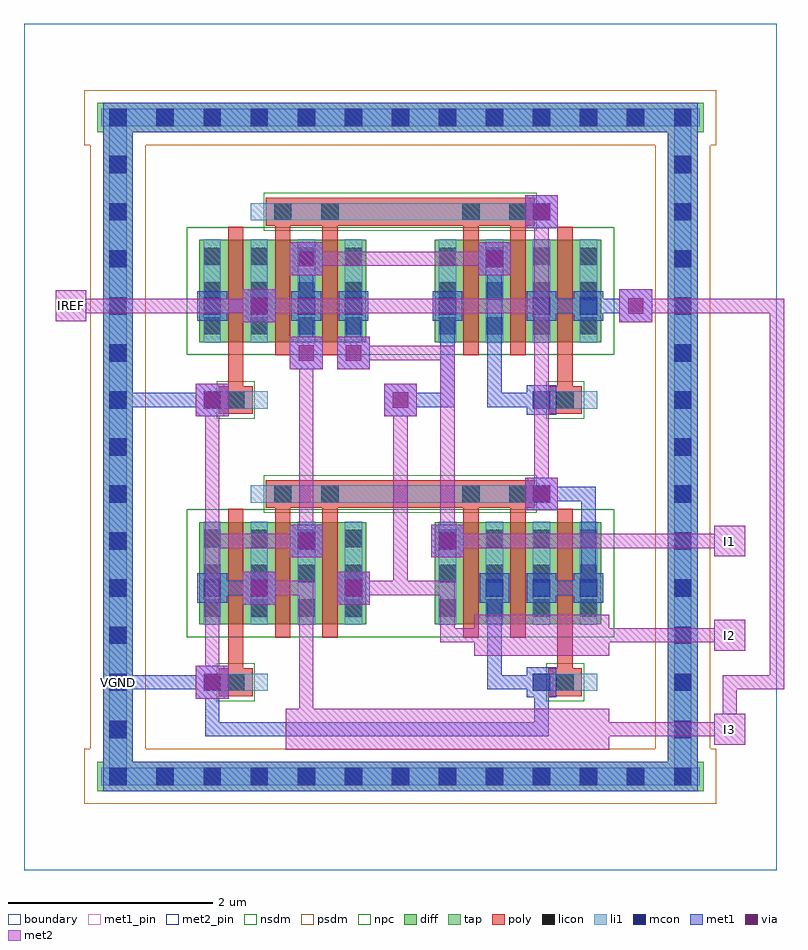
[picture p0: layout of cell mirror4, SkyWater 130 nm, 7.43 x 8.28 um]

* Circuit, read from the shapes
.subckt mirror4 I1 I2 I3 IREF VGND
XM1 I3 VGND I3 VGND sky130_fd_pr__nfet_01v8 w=1 l=0.15 m=2
XM2 IREF VGND IREF VGND sky130_fd_pr__nfet_01v8 w=1 l=0.15 m=2
XM3 VGND IREF I3 VGND sky130_fd_pr__nfet_01v8 w=1 l=0.15 m=2
XM4 VGND IREF IREF VGND sky130_fd_pr__nfet_01v8 w=1 l=0.15 m=2
XM5 I2 IREF VGND VGND sky130_fd_pr__nfet_01v8 w=1 l=0.15 m=2
XM6 I1 IREF VGND VGND sky130_fd_pr__nfet_01v8 w=1 l=0.15 m=2
.ends

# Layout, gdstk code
import gdstk
lib = gdstk.Library(unit=1e-6, precision=1e-09)
def R(c, l, rs):  # rectangles x0, y0, x1, y1
    for r in rs: c.add(gdstk.rectangle(r[:2], r[2:], *l))
def A(c, l, x, y, w, h, nx, ny, dx, dy):  # array of equal rectangles
    R(c, l, [(x+i*dx, y+j*dy, x+i*dx+w, y+j*dy+h) for i in range(nx) for j in range(ny)])
diff = (65, 20)
tap = (65, 44)
poly = (66, 20)
licon = (66, 44)
li1 = (67, 20)
mcon = (67, 44)
met1_pin = (68, 16)
met1 = (68, 20)
via = (68, 44)
met2_pin = (69, 16)
met2 = (69, 20)
nsdm = (93, 44)
psdm = (94, 20)
npc = (95, 20)
boundary = (235, 4)

mirror4 = lib.new_cell('mirror4')
R(mirror4, diff, [(1.715,2.405,3.345,3.405), (4.015,2.405,5.645,3.405), (1.715,5.165,3.345,6.165), (4.015,5.165,5.645,6.165)])
R(mirror4, tap, [(0.715,0.775,6.645,1.065), (0.775,0.775,1.065,7.505), (6.295,0.775,6.585,7.505), (0.715,7.215,6.645,7.505)])
R(mirror4, poly, [(1.905,1.705,2.235,1.975), (5.125,1.705,5.455,1.975), (1.995,1.84,2.145,3.535), (5.215,1.84,5.365,3.535), (2.455,2.275,2.605,3.68), (2.915,2.275,3.065,3.68), (4.295,2.275,4.445,3.68), (4.755,2.275,4.905,3.68), (2.365,3.545,4.995,3.815), (1.905,4.465,2.235,4.735), (5.125,4.465,5.455,4.735), (1.995,4.6,2.145,6.295), (5.215,4.6,5.365,6.295), (2.455,5.035,2.605,6.44), (2.915,5.035,3.065,6.44), (4.295,5.035,4.445,6.44), (4.755,5.035,4.905,6.44), (2.365,6.305,4.995,6.575)])
A(mirror4, licon, 0.835, 0.835, 0.17, 0.17, 13, 2, 0.46, 6.44)
A(mirror4, licon, 0.835, 1.295, 0.17, 0.17, 1, 13, 0, 0.46)
A(mirror4, licon, 6.355, 1.295, 0.17, 0.17, 1, 13, 0, 0.46)
A(mirror4, licon, 1.755, 2.48, 0.17, 0.17, 4, 3, 0.46, 0.34)
A(mirror4, licon, 4.055, 2.48, 0.17, 0.17, 4, 3, 0.46, 0.34)
A(mirror4, licon, 1.755, 5.24, 0.17, 0.17, 4, 3, 0.46, 0.34)
A(mirror4, licon, 4.055, 5.24, 0.17, 0.17, 4, 3, 0.46, 0.34)
R(mirror4, licon, [(1.985,1.755,2.155,1.925), (5.205,1.755,5.375,1.925), (2.445,3.595,2.615,3.765), (2.905,3.595,3.075,3.765), (4.285,3.595,4.455,3.765), (4.745,3.595,4.915,3.765), (1.985,4.515,2.155,4.685), (5.205,4.515,5.375,4.685), (2.445,6.355,2.615,6.525), (2.905,6.355,3.075,6.525), (4.285,6.355,4.455,6.525), (4.745,6.355,4.915,6.525)])
A(mirror4, li1, 1.755, 2.4, 0.17, 1.01, 4, 2, 0.46, 2.76)
A(mirror4, li1, 4.055, 2.4, 0.17, 1.01, 4, 2, 0.46, 2.76)
R(mirror4, li1, [(0.755,0.835,6.605,1.005), (0.835,0.835,1.005,7.445), (6.355,0.835,6.525,7.445), (1.755,1.755,2.385,1.925), (4.975,1.755,5.605,1.925), (2.215,3.595,5.145,3.765), (1.755,4.515,2.385,4.685), (4.975,4.515,5.605,4.685), (2.215,6.355,5.145,6.525), (0.755,7.275,6.605,7.445)])
A(mirror4, mcon, 0.835, 0.835, 0.17, 0.17, 13, 2, 0.46, 6.44)
A(mirror4, mcon, 0.835, 1.295, 0.17, 0.17, 1, 13, 0, 0.46)
A(mirror4, mcon, 6.355, 1.295, 0.17, 0.17, 1, 13, 0, 0.46)
A(mirror4, mcon, 4.515, 2.675, 0.17, 0.17, 3, 1, 0.46, 0)
A(mirror4, mcon, 4.975, 3.595, 0.17, 0.17, 1, 4, 0, 0.92)
A(mirror4, mcon, 1.755, 5.435, 0.17, 0.17, 4, 1, 0.46, 0)
R(mirror4, mcon, [(1.755,1.755,1.925,1.925), (4.975,1.755,5.145,1.925), (1.755,2.675,1.925,2.845), (2.215,2.675,2.385,2.845), (3.135,2.675,3.305,2.845), (2.675,3.135,2.845,3.305), (4.055,3.135,4.225,3.305), (1.755,4.515,1.925,4.685), (4.055,5.435,4.225,5.605), (5.435,5.435,5.605,5.605), (4.515,5.895,4.685,6.065)])
R(mirror4, met1_pin, [(0.85,1.77,0.99,1.91)])
A(mirror4, met1, 4.455, 2.615, 0.29, 0.29, 3, 1, 0.46, 0)
A(mirror4, met1, 4.915, 3.535, 0.29, 0.29, 1, 4, 0, 0.92)
A(mirror4, met1, 1.695, 5.375, 0.29, 0.29, 4, 1, 0.46, 0)
R(mirror4, met1, [(0.775,0.775,6.585,1.065), (0.775,0.775,1.065,7.505), (6.295,0.775,6.585,7.505), (1.77,1.31,1.91,1.91), (1.77,1.31,5.13,1.45), (4.99,1.31,5.13,1.91), (1.68,1.68,2,2), (1.695,1.695,1.985,1.985), (4.915,1.695,5.205,1.985), (0.85,1.77,0.99,1.91), (0.85,1.77,1.91,1.91), (4.53,1.77,5.13,1.91), (4.53,1.77,4.67,2.83), (2.14,2.6,2.46,2.92), (3.06,2.6,3.38,2.92), (1.695,2.615,1.985,2.905), (2.155,2.615,2.445,2.905), (3.075,2.615,3.365,2.905), (1.77,2.69,2.37,2.83), (4.99,2.69,5.59,2.83), (5.45,2.69,5.59,3.75), (2.6,3.06,2.92,3.38), (3.98,3.06,4.3,3.38), (2.615,3.075,2.905,3.365), (3.995,3.075,4.285,3.365), (4.9,3.52,5.22,3.84), (4.99,3.61,5.59,3.75), (1.68,4.44,2,4.76), (3.52,4.44,3.84,4.76), (1.695,4.455,1.985,4.745), (0.85,4.53,1.91,4.67), (0.85,4.53,0.99,7.43), (3.61,4.53,4.21,4.67), (4.07,4.53,4.21,5.59), (4.53,4.53,5.13,4.67), (4.53,4.53,4.67,6.05), (2.6,4.9,2.92,5.22), (3.06,4.9,3.38,5.22), (2.69,4.99,2.83,5.59), (3.15,4.99,3.29,5.59), (2.14,5.36,2.46,5.68), (5.82,5.36,6.14,5.68), (3.995,5.375,4.285,5.665), (5.375,5.375,5.665,5.665), (1.77,5.45,2.37,5.59), (2.69,5.45,2.83,6.05), (4.99,5.45,5.59,5.59), (5.45,5.45,6.05,5.59), (2.6,5.82,2.92,6.14), (4.44,5.82,4.76,6.14), (4.455,5.835,4.745,6.125), (4.9,6.28,5.22,6.6), (0.775,7.215,6.585,7.505), (0.85,7.29,0.99,7.43)])
R(mirror4, via, [(1.765,1.765,1.915,1.915), (2.225,2.685,2.375,2.835), (3.145,2.685,3.295,2.835), (2.685,3.145,2.835,3.295), (4.065,3.145,4.215,3.295), (4.985,3.605,5.135,3.755), (1.765,4.525,1.915,4.675), (3.605,4.525,3.755,4.675), (2.685,4.985,2.835,5.135), (3.145,4.985,3.295,5.135), (2.225,5.445,2.375,5.595), (5.905,5.445,6.055,5.595), (2.685,5.905,2.835,6.055), (4.525,5.905,4.675,6.055), (4.985,6.365,5.135,6.515)])
A(mirror4, met2_pin, 6.75, 1.23, 0.3, 0.3, 1, 3, 0, 0.92)
R(mirror4, met2_pin, [(0.31,5.37,0.61,5.67)])
A(mirror4, met2, 6.75, 1.23, 0.3, 0.3, 1, 3, 0, 0.92)
A(mirror4, met2, 6.83, 1.31, 0.14, 0.14, 1, 3, 0, 0.92)
R(mirror4, met2, [(2.56,1.18,5.72,1.58), (2.69,1.31,2.83,2.83), (5.45,1.31,6.97,1.45), (6.83,1.31,6.97,1.91), (1.68,1.68,2,2), (1.77,1.77,1.91,4.67), (6.83,1.77,7.43,1.91), (7.29,1.77,7.43,5.59), (4.4,2.1,5.72,2.5), (4.07,2.23,4.21,2.83), (4.07,2.23,4.67,2.37), (5.45,2.23,6.97,2.37), (2.14,2.6,2.46,2.92), (3.06,2.6,3.38,2.92), (2.23,2.69,2.83,2.83), (3.15,2.69,4.21,2.83), (3.61,2.69,3.75,4.67), (2.6,3.06,2.92,3.38), (3.98,3.06,4.3,3.38), (1.77,3.15,2.83,3.29), (2.69,3.15,2.83,5.13), (4.07,3.15,6.97,3.29), (4.07,3.15,4.21,5.13), (4.9,3.52,5.22,3.84), (4.99,3.61,5.13,6.51), (1.68,4.44,2,4.76), (3.52,4.44,3.84,4.76), (2.6,4.9,2.92,5.22), (3.06,4.9,3.38,5.22), (3.15,4.99,4.21,5.13), (2.14,5.36,2.46,5.68), (5.82,5.36,6.14,5.68), (0.31,5.37,0.61,5.67), (0.39,5.45,0.53,5.59), (0.39,5.45,2.37,5.59), (2.23,5.45,5.13,5.59), (5.91,5.45,7.43,5.59), (2.6,5.82,2.92,6.14), (4.44,5.82,4.76,6.14), (2.69,5.91,4.67,6.05), (4.9,6.28,5.22,6.6)])
R(mirror4, nsdm, [(1.59,2.28,5.77,3.53), (1.59,5.04,5.77,6.29)])
R(mirror4, psdm, [(0.59,0.65,6.77,1.19), (0.65,1.19,1.19,7.09), (6.17,1.19,6.71,7.09), (0.59,7.09,6.77,7.63)])
R(mirror4, npc, [(1.885,1.655,2.255,2.025), (5.105,1.655,5.475,2.025), (2.345,3.495,5.015,3.865), (1.885,4.415,2.255,4.785), (5.105,4.415,5.475,4.785), (2.345,6.255,5.015,6.625)])
R(mirror4, boundary, [(0,0,7.36,8.28)])
mirror4.add(gdstk.Label('VGND', (0.92,1.84), layer=68, texttype=5))
mirror4.add(gdstk.Label('IREF', (0.46,5.52), layer=69, texttype=5))
mirror4.add(gdstk.Label('I1', (6.9,3.22), layer=69, texttype=5))
mirror4.add(gdstk.Label('I2', (6.9,2.3), layer=69, texttype=5))
mirror4.add(gdstk.Label('I3', (6.9,1.38), layer=69, texttype=5))
mirror4.add(gdstk.Label('VGND', (0.92,1.84), layer=68, texttype=16))
mirror4.add(gdstk.Label('IREF', (0.46,5.52), layer=69, texttype=16))
mirror4.add(gdstk.Label('I1', (6.9,3.22), layer=69, texttype=16))
mirror4.add(gdstk.Label('I2', (6.9,2.3), layer=69, texttype=16))
mirror4.add(gdstk.Label('I3', (6.9,1.38), layer=69, texttype=16))

lib.write_gds('mirror4.gds')
